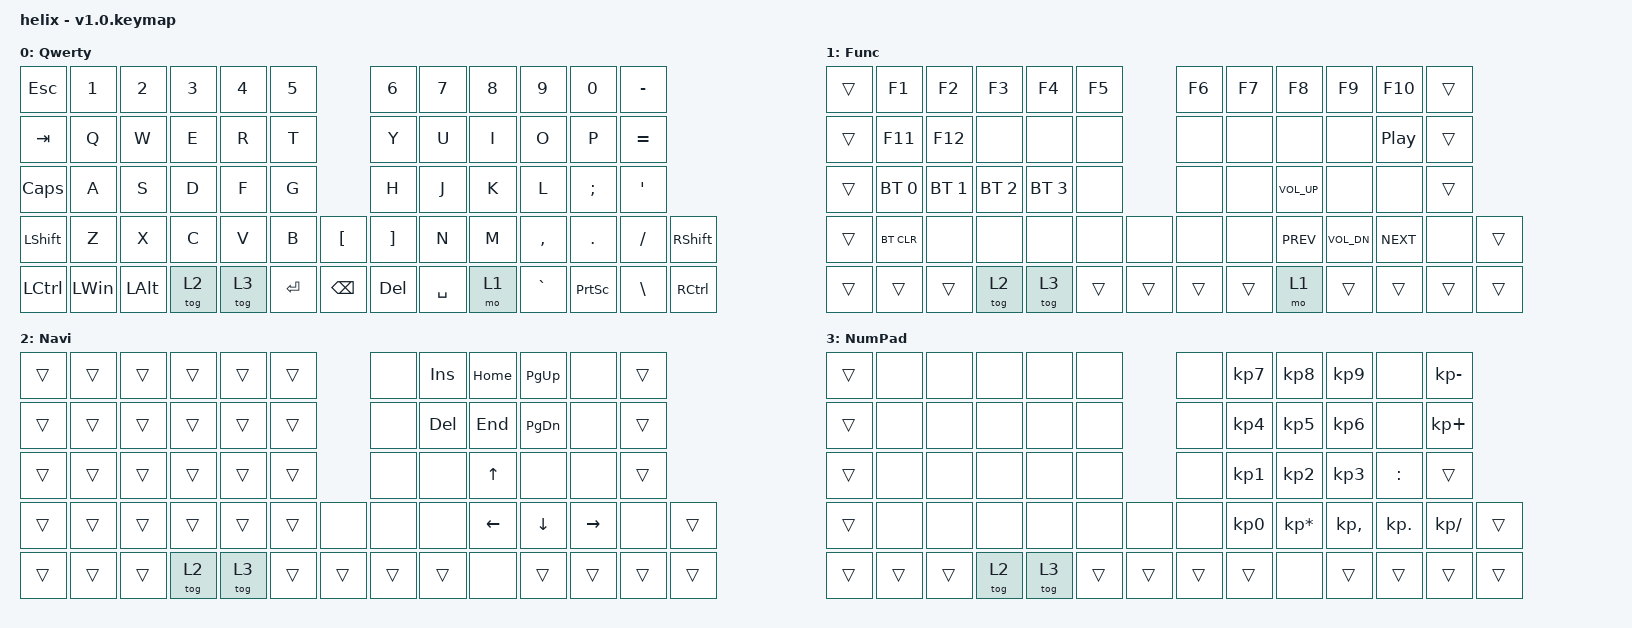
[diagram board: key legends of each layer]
/*
 * Copyright (c) 2020 The ZMK Contributors
 *
 * SPDX-License-Identifier: MIT
 */

 #include <behaviors.dtsi>
 #include <dt-bindings/zmk/keys.h>
 #include <dt-bindings/zmk/bt.h>
 #include <dt-bindings/zmk/rgb.h>
 #include <dt-bindings/zmk/ext_power.h>
 #include <dt-bindings/zmk/outputs.h>

 #define DEFAULT 0
 #define LOWER  1
 #define RAISE  2
 #define ADJUST 3

/* NOTE: At the time of the creation of this keymap, there are no specified codes for 'eisuu' and 'kana' input in ZMK.
However, 'LANG1' and 'LANG2' are fully-functioning candidates for 'kana' and 'eisuu' input respectively.
As such, those are in use within the default layer at this time.*/

/ {
       keymap {
              compatible = "zmk,keymap";
              default_layer {
 // ---------------------------------------------------------------------------------------------------------------------------------
 //|ESC | N1 | N2 | N3 | N4 | N5 |  |  |  | N6 | N7 | N8 | N9 | N0 | MINUS
 //|TAB | Q | W | E | R | T |  |  |  | Y | U | I | O | P | EQUAL
 //|CAPS | A | S | D | F | G |  |  |  | H | J | K | L | SEMICOLON | APOSTROPHE
 //|LSHFT | Z | X | C | V | B | LEFT_BRACKET |  | RIGHT_BRACKET | N | M | COMMA | DOT | SLASH | RSHFT
 //|LCTRL | LWIN | LALT | TG(2) | TG(3) | ENTER | BACKSPACE |  | DEL | SPACE | MO(1) | GRAVE | PSCRN | BACKSLASH | RCTRL
 // ---------------------------------------------------------------------------------------------------------------------------------
                     label = "Qwerty";
                     bindings = <
       &kp ESC	&kp N1	&kp N2	&kp N3	&kp N4	&kp N5				&kp N6	&kp N7	&kp N8	&kp N9	&kp N0	&kp MINUS
       &kp TAB	&kp Q	&kp W	&kp E	&kp R	&kp T				&kp Y	&kp U	&kp I	&kp O	&kp P	&kp EQUAL
       &kp CAPS	&kp A	&kp S	&kp D	&kp F	&kp G				&kp H	&kp J	&kp K	&kp L	&kp SEMICOLON	&kp APOSTROPHE
       &kp LSHFT	&kp Z	&kp X	&kp C	&kp V	&kp B	&kp LEFT_BRACKET		&kp RIGHT_BRACKET	&kp N	&kp M	&kp COMMA	&kp DOT	&kp SLASH	&kp RSHFT
       &kp LCTRL	&kp LWIN	&kp LALT	&tog 2	&tog 3	&kp ENTER	&kp BACKSPACE		&kp DEL	&kp SPACE	&mo 1	&kp GRAVE	&kp PSCRN	&kp BACKSLASH	&kp RCTRL
                     >;
              };

              lower_layer {
 // ---------------------------------------------------------------------------------------------------------------------------------
 //TRANS	F1	F2	F3	F4	F5				F6	F7	F8	F9	F10	TRANS
 //TRANS	F11	F12											C_PLAY_PAUSE	TRANS
 //TRANS	BT_SEL 0	BT_SEL 1	BT_SEL 2	BT_SEL 3							C_VOL_UP			TRANS
 //TRANS	BT_CLR									C_PREV	C_VOL_DN	C_NEXT		TRANS
 //TRANS	TRANS	TRANS	TG(2)	TG(3)	TRANS	TRANS		TRANS	TRANS	TRANS	TRANS	TRANS	TRANS	TRANS
 // ---------------------------------------------------------------------------------------------------------------------------------
                     label = "Func";
                     bindings = <
&trans	&kp F1	&kp F2	&kp F3	&kp F4	&kp F5				&kp F6	&kp F7	&kp F8	&kp F9	&kp F10	&trans
&trans	&kp F11	&kp F12	&none	&none	&none				&none	&none	&none	&none	&kp C_PLAY_PAUSE	&trans
&trans	&bt BT_SEL 0	&bt BT_SEL 1	&bt BT_SEL 2	&bt BT_SEL 3	&none				&none	&none	&kp C_VOL_UP	&none	&none	&trans
&trans	&bt BT_CLR	&none	&none	&none	&none	&none		&none	&none	&kp C_PREV	&kp C_VOL_DN	&kp C_NEXT	&none	&trans
&trans	&trans	&trans	&tog 2	&tog 3	&trans	&trans		&trans	&trans	&mo 1	&trans	&trans	&trans	&trans
                     >;
              };
              raise_layer {
 // ---------------------------------------------------------------------------------------------------------------------------------
 // TRANS	TRANS	TRANS	TRANS	TRANS	TRANS					INS	HOME	PG_UP		TRANS
 // TRANS	TRANS	TRANS	TRANS	TRANS	TRANS					DEL	END	PG_DN		TRANS
 // TRANS	TRANS	TRANS	TRANS	TRANS	TRANS						UP			TRANS
 // TRANS	TRANS	TRANS	TRANS	TRANS	TRANS					LEFT	DOWN	RIGHT		TRANS
 // TRANS	TRANS	TRANS	TG(2)	TG(3)	TRANS	TRANS		TRANS	TRANS		TRANS	TRANS	TRANS	TRANS
 // ---------------------------------------------------------------------------------------------------------------------------------
                     label = "Navi";
                     bindings = <
       &trans	&trans	&trans	&trans	&trans	&trans				&none	&kp INS	&kp HOME	&kp PG_UP	&none	&trans
       &trans	&trans	&trans	&trans	&trans	&trans				&none	&kp DEL	&kp END	&kp PG_DN	&none	&trans
       &trans	&trans	&trans	&trans	&trans	&trans				&none	&none	&kp UP	&none	&none	&trans
       &trans	&trans	&trans	&trans	&trans	&trans	&none		&none	&none	&kp LEFT	&kp DOWN	&kp RIGHT	&none	&trans
       &trans	&trans	&trans	&tog 2	&tog 3	&trans	&trans		&trans	&trans	&none	&trans	&trans	&trans	&trans
                     >;
              };
              adjust_layer {
 // ---------------------------------------------------------------------------------------------------------------------------------
 // TRANS										KP_N7	KP_N8	KP_N9		KP_MINUS
 // TRANS										KP_N4	KP_N5	KP_N6		KP_PLUS
 // TRANS										KP_N1	KP_N2	KP_N3	COLON	TRANS
 // TRANS									KP_N0	KP_MULTIPLY	KP_COMMA	KP_DOT	KP_DIVIDE	TRANS
 // TRANS	TRANS	TRANS	TG(2)	TG(3)	TRANS	TRANS		TRANS	TRANS		TRANS	TRANS	TRANS	TRANS
 // ---------------------------------------------------------------------------------------------------------------------------------
                     label = "NumPad";
                     bindings = <
       &trans	&none	&none	&none	&none	&none				&none	&kp KP_N7	&kp KP_N8	&kp KP_N9	&none	&kp KP_MINUS
       &trans	&none	&none	&none	&none	&none				&none	&kp KP_N4	&kp KP_N5	&kp KP_N6	&none	&kp KP_PLUS
       &trans	&none	&none	&none	&none	&none				&none	&kp KP_N1	&kp KP_N2	&kp KP_N3	&kp COLON	&trans
       &trans	&none	&none	&none	&none	&none	&none		&none	&kp KP_N0	&kp KP_MULTIPLY	&kp KP_COMMA	&kp KP_DOT	&kp KP_DIVIDE	&trans
       &trans	&trans	&trans	&tog 2	&tog 3	&trans	&trans		&trans	&trans	&none	&trans	&trans	&trans	&trans
                     >;
              };
       };
};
